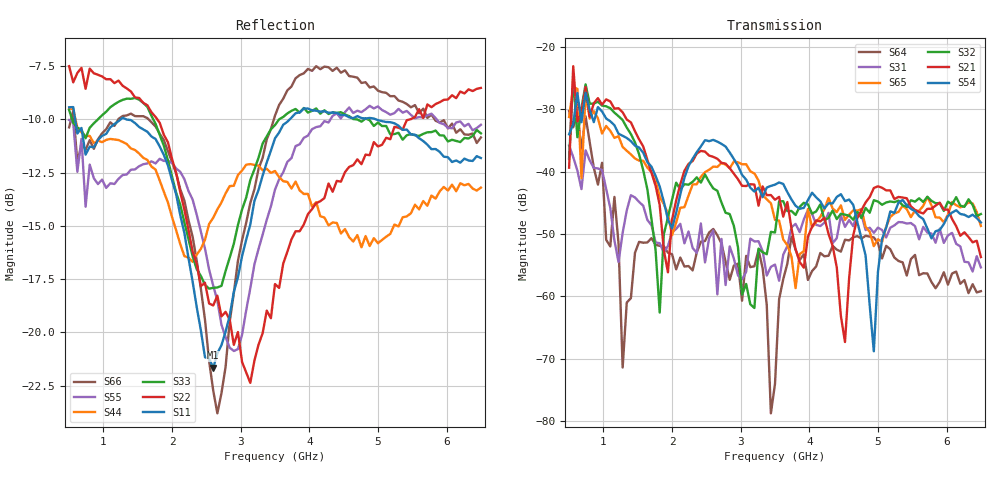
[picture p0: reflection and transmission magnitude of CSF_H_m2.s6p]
!Keysight Technologies,M9804A,MY58100912,A.14.10.03
!Date: Thursday, April 27, 2023 10:28:33
!Correction: S11(C  6-Port  )
!S12(C  6-Port  )
!S13(C  6-Port  )
!S14(C  6-Port  )
!S15(C  6-Port  )
!S16(C  6-Port  )
!S21(C  6-Port  )
!S22(C  6-Port  )
!S23(C  6-Port  )
!S24(C  6-Port  )
!S25(C  6-Port  )
!S26(C  6-Port  )
!S31(C  6-Port  )
!S32(C  6-Port  )
!S33(C  6-Port  )
!S34(C  6-Port  )
!S35(C  6-Port  )
!S36(C  6-Port  )
!S41(C  6-Port  )
!S42(C  6-Port  )
!S43(C  6-Port  )
!S44(C  6-Port  )
!S45(C  6-Port  )
!S46(C  6-Port  )
!S51(C  6-Port  )
!S52(C  6-Port  )
!S53(C  6-Port  )
!S54(C  6-Port  )
!S55(C  6-Port  )
!S56(C  6-Port  )
!S61(C  6-Port  )
!S62(C  6-Port  )
!S63(C  6-Port  )
!S64(C  6-Port  )
!S65(C  6-Port  )
!S66(C  6-Port  )
!S6P File: Measurement: :
# Hz S  RI  R 50
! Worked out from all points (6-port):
!   101 points, 500 MHz to 6.5 GHz, reference 50 ohm
!   strongest paths, dB at 500 MHz, 2 GHz, 3.5 GHz, 5 GHz, 6.5 GHz:
!     S54: -34.0, -49.1, -42.1, -56.1, -48.2
!     S21: -39.4, -47.7, -44.5, -42.4, -53.7
!     S32: -37.9, -44.5, -49.8, -44.8, -46.8
!     S65: -31.2, -50.2, -47.7, -50.9, -48.7
!     S31: -35.8, -49.8, -54.9, -49.0, -55.4
!     S64: -30.3, -53.3, -74.1, -51.5, -59.2
!   lowest |S11| = -21.7 dB at 2.6 GHz (marker M1), VSWR 1.18, Z = 42.6 + j2.01 ohm
!   |S11| at or under -10 dB: 588 MHz to 1.25 GHz (661.8 MHz wide, 72 % of centre); 1.335 GHz to 3.714 GHz (2.379 GHz wide, 94.3 % of centre); 4.973 GHz to end of sweep
